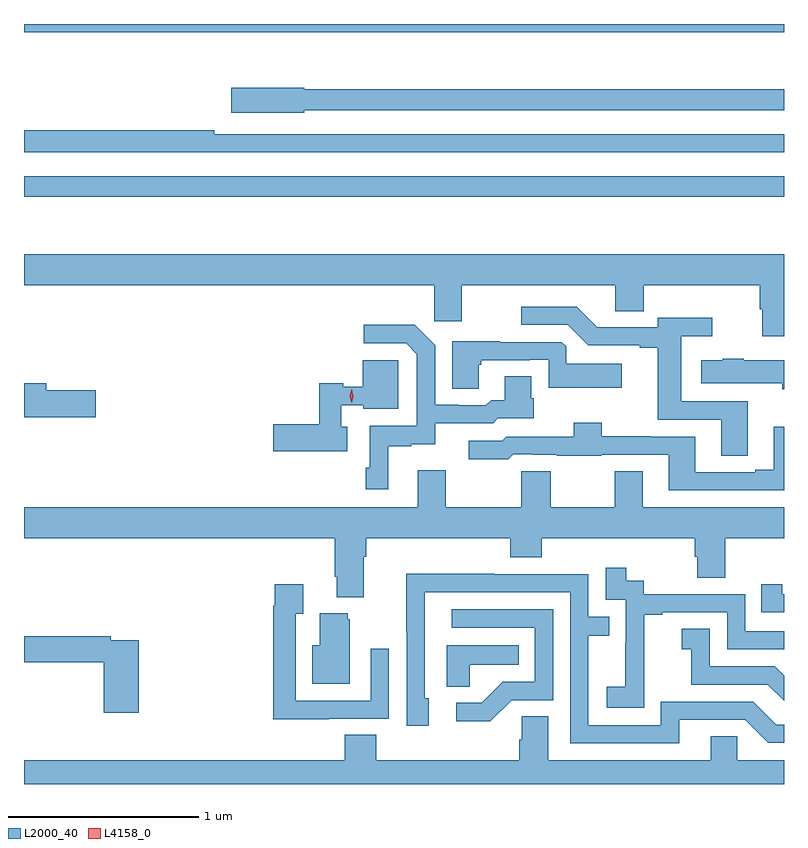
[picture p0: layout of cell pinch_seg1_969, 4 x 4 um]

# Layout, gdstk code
import gdstk
lib = gdstk.Library(unit=1e-6, precision=1e-09)
def R(c, l, rs):  # rectangles x0, y0, x1, y1
    for r in rs: c.add(gdstk.rectangle(r[:2], r[2:], *l))
def P(c, l, *ps):  # polygons
    for p in ps: c.add(gdstk.Polygon(p, *l))
L2000_40 = (2000, 40)
L4158_0 = (4158, 0)

pinch_seg1_969 = lib.new_cell('pinch_seg1_969')
R(pinch_seg1_969, L2000_40, [(309.656,580.17,313.656,580.278), (309.656,581.036,313.656,581.079)])
P(pinch_seg1_969, L2000_40, [(311.13,580.626),(313.656,580.626),(313.656,580.735),(311.13,580.735),(311.13,580.743),(310.746,580.743),(310.746,580.613),(311.13,580.613)],
  [(313.656,580.5),(310.658,580.5),(310.658,580.52),(309.656,580.52),(309.656,580.404),(313.656,580.404)],
  [(313.656,579.868),(309.656,579.868),(309.656,579.704),(311.815,579.704),(311.815,579.515),(311.961,579.515),(311.961,579.704),(312.767,579.704),(312.767,579.568),(312.919,579.568),(312.919,579.704),(313.529,579.704),(313.529,579.578),(313.541,579.578),(313.541,579.435),(313.656,579.435)],
  [(313.465,579.093),(313.114,579.093),(313.114,579.435),(313.279,579.435),(313.279,579.532),(312.992,579.532),(312.992,579.483),(312.672,579.483),(312.564,579.591),(312.273,579.591),(312.273,579.495),(312.518,579.495),(312.626,579.387),(312.896,579.387),(312.896,579.375),(312.992,579.375),(312.992,578.997),(313.325,578.997),(313.325,578.806),(313.465,578.806)],
  [(311.572,578.856),(311.693,578.856),(311.693,578.867),(311.821,578.867),(311.821,578.979),(312.126,578.979),(312.15,579.003),(312.338,579.003),(312.338,579.11),(312.325,579.11),(312.325,579.224),(312.185,579.224),(312.185,579.1),(312.115,579.1),(312.087,579.072),(311.945,579.072),(311.945,579.075),(311.82,579.075),(311.82,579.388),(311.712,579.497),(311.445,579.497),(311.445,579.399),(311.667,579.399),(311.724,579.342),(311.724,578.964),(311.475,578.964),(311.475,578.743),(311.455,578.743),(311.455,578.631),(311.572,578.631)],
  [(312.049,579.285),(312.063,579.285),(312.063,579.309),(312.317,579.309),(312.317,579.312),(312.417,579.312),(312.417,579.164),(312.802,579.164),(312.802,579.292),(312.509,579.292),(312.509,579.383),(312.487,579.405),(312.163,579.405),(312.163,579.41),(311.909,579.41),(311.909,579.16),(312.049,579.16)],
  [(313.656,579.31),(313.445,579.31),(313.445,579.318),(313.333,579.318),(313.333,579.31),(313.221,579.31),(313.221,579.188),(313.646,579.188),(313.646,579.156),(313.656,579.156)],
  [(311.356,578.959),(311.325,578.959),(311.325,579.072),(311.442,579.072),(311.442,579.053),(311.625,579.053),(311.625,579.309),(311.438,579.309),(311.438,579.171),(311.337,579.171),(311.337,579.188),(311.209,579.188),(311.209,578.972),(310.968,578.972),(310.968,578.83),(311.356,578.83)],
  [(310.033,579.152),(309.772,579.152),(309.772,579.188),(309.656,579.188),(309.656,579.01),(310.033,579.01)],
  [(313.656,578.959),(313.601,578.959),(313.601,578.734),(313.505,578.734),(313.505,578.721),(313.189,578.721),(313.189,578.907),(312.953,578.907),(312.953,578.91),(312.697,578.91),(312.697,578.98),(312.55,578.98),(312.55,578.907),(312.195,578.907),(312.174,578.886),(311.997,578.886),(311.997,578.788),(312.205,578.788),(312.231,578.814),(312.331,578.814),(312.331,578.811),(312.461,578.811),(312.461,578.806),(312.693,578.806),(312.693,578.811),(313.049,578.811),(313.049,578.625),(313.656,578.625)],
  [(311.443,578.276),(311.456,578.276),(311.456,578.372),(312.215,578.372),(312.215,578.273),(312.38,578.273),(312.38,578.372),(313.187,578.372),(313.187,578.274),(313.199,578.274),(313.199,578.164),(313.347,578.164),(313.347,578.372),(313.656,578.372),(313.656,578.536),(312.913,578.536),(312.913,578.726),(312.766,578.726),(312.766,578.536),(312.429,578.536),(312.429,578.726),(312.274,578.726),(312.274,578.536),(311.877,578.536),(311.877,578.731),(311.729,578.731),(311.729,578.536),(309.656,578.536),(309.656,578.372),(311.291,578.372),(311.291,578.17),(311.303,578.17),(311.303,578.063),(311.443,578.063)],
  [(312.921,577.687),(312.92,577.687),(312.92,577.971),(313.015,577.971),(313.015,577.983),(313.356,577.983),(313.356,577.788),(313.656,577.788),(313.656,577.884),(313.452,577.884),(313.452,578.079),(312.918,578.079),(312.918,578.148),(312.826,578.148),(312.826,578.218),(312.717,578.218),(312.717,578.049),(312.822,578.049),(312.822,577.82),(312.821,577.82),(312.821,577.591),(312.723,577.591),(312.723,577.481),(312.921,577.481)],
  [(313.105,577.416),(313.452,577.416),(313.572,577.296),(313.656,577.296),(313.656,577.392),(313.614,577.392),(313.494,577.512),(313.008,577.512),(313.008,577.389),(312.627,577.389),(312.627,577.858),(312.737,577.858),(312.737,577.959),(312.627,577.959),(312.627,578.184),(312.131,578.184),(312.131,578.186),(311.668,578.186),(311.668,577.879),(311.67,577.879),(311.67,577.386),(311.785,577.386),(311.785,577.53),(311.766,577.53),(311.766,578.088),(312.531,578.088),(312.531,577.293),(313.105,577.293)],
  [(313.656,578.079),(313.648,578.079),(313.648,578.131),(313.537,578.131),(313.537,577.983),(313.656,577.983)],
  [(311.261,577.422),(311.577,577.422),(311.577,577.792),(311.481,577.792),(311.481,577.518),(311.085,577.518),(311.085,577.975),(311.125,577.975),(311.125,578.131),(310.977,578.131),(310.977,578.018),(310.969,578.018),(310.969,577.421),(311.261,577.421)],
  [(312.222,577.521),(312.441,577.521),(312.441,577.998),(311.907,577.998),(311.907,577.902),(312.345,577.902),(312.345,577.617),(312.176,577.617),(312.065,577.506),(311.931,577.506),(311.931,577.409),(312.109,577.409)],
  [(311.371,577.947),(311.36,577.947),(311.36,577.978),(311.213,577.978),(311.213,577.81),(311.174,577.81),(311.174,577.607),(311.371,577.607)],
  [(313.656,577.65),(313.608,577.698),(313.266,577.698),(313.266,577.897),(313.119,577.897),(313.119,577.787),(313.168,577.787),(313.168,577.602),(313.571,577.602),(313.656,577.517)],
  [(310.259,577.836),(310.112,577.836),(310.112,577.856),(309.656,577.856),(309.656,577.72),(310.076,577.72),(310.076,577.455),(310.259,577.455)],
  [(312.003,577.706),(312.26,577.706),(312.26,577.81),(311.882,577.81),(311.882,577.591),(312.003,577.591)],
  [(313.656,577.204),(313.41,577.204),(313.41,577.331),(313.271,577.331),(313.271,577.204),(312.415,577.204),(312.415,577.436),(312.276,577.436),(312.276,577.313),(312.263,577.313),(312.263,577.204),(311.51,577.204),(311.51,577.337),(311.345,577.337),(311.345,577.204),(309.656,577.204),(309.656,577.079),(313.656,577.079)])
P(pinch_seg1_969, L4158_0, [(311.38,579.085),(311.38,579.085),(311.37,579.121),(311.38,579.157),(311.38,579.157),(311.38,579.157),(311.39,579.121),(311.38,579.085)])

lib.write_gds('pinch_seg1_969.gds')
